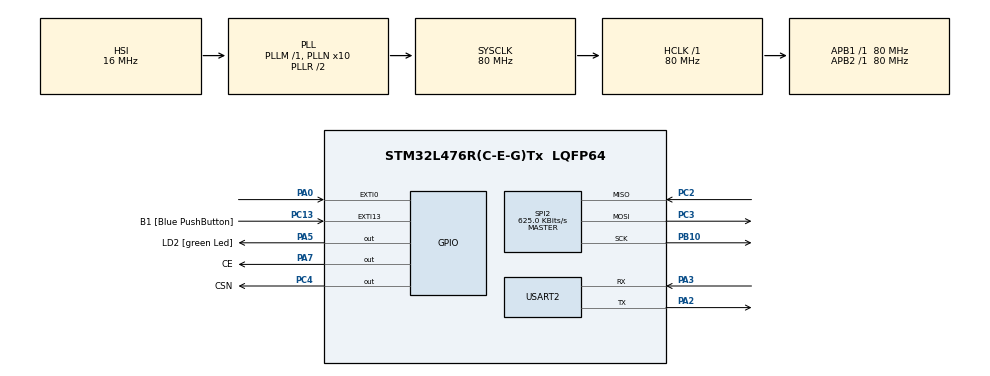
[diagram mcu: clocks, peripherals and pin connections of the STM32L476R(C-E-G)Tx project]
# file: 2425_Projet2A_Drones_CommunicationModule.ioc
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Mcu.Family=STM32L4
Mcu.Name=STM32L476R(C-E-G)Tx
Mcu.Package=LQFP64
NVIC.EXTI0_IRQn=true\:0\:0\:false\:false\:true\:true\:true\:true
NVIC.PriorityGroup=NVIC_PRIORITYGROUP_4
NVIC.SPI2_IRQn=true\:0\:0\:false\:false\:true\:true\:true\:true
PA0.GPIO_ModeDefaultEXTI=GPIO_MODE_IT_FALLING
PA0.Signal=GPXTI0
PA13\ (JTMS-SWDIO).GPIO_Label=TMS
PA13\ (JTMS-SWDIO).Mode=Serial_Wire
PA13\ (JTMS-SWDIO).Signal=SYS_JTMS-SWDIO
PA14\ (JTCK-SWCLK).GPIO_Label=TCK
PA14\ (JTCK-SWCLK).Mode=Serial_Wire
PA14\ (JTCK-SWCLK).Signal=SYS_JTCK-SWCLK
PA2.Mode=Asynchronous
PA2.Signal=USART2_TX
PA3.Mode=Asynchronous
PA3.Signal=USART2_RX
PA5.GPIO_Label=LD2 [green Led]
PA5.GPIO_ModeDefaultOutputPP=GPIO_MODE_OUTPUT_PP
PA5.GPIO_PuPd=GPIO_NOPULL
PA5.GPIO_Speed=GPIO_SPEED_FREQ_LOW
PA5.Signal=GPIO_Output
PA7.GPIO_Label=CE
PA7.GPIO_Speed=GPIO_SPEED_FREQ_HIGH
PA7.Signal=GPIO_Output
PB10.Mode=Full_Duplex_Master
PB10.Signal=SPI2_SCK
PB3\ (JTDO-TRACESWO).GPIO_Label=SWO
PB3\ (JTDO-TRACESWO).Signal=SYS_JTDO-SWO
PC13.GPIO_Label=B1 [Blue PushButton]
PC13.GPIO_ModeDefaultEXTI=GPIO_MODE_IT_FALLING
PC13.GPIO_PuPd=GPIO_NOPULL
PC13.Signal=GPXTI13
PC14-OSC32_IN\ (PC14).Mode=LSE-External-Oscillator
PC14-OSC32_IN\ (PC14).Signal=RCC_OSC32_IN
PC15-OSC32_OUT\ (PC15).Mode=LSE-External-Oscillator
PC15-OSC32_OUT\ (PC15).Signal=RCC_OSC32_OUT
PC2.Mode=Full_Duplex_Master
PC2.Signal=SPI2_MISO
PC3.Mode=Full_Duplex_Master
PC3.Signal=SPI2_MOSI
PC4.GPIO_Label=CSN
PC4.GPIO_Speed=GPIO_SPEED_FREQ_HIGH
PC4.Signal=GPIO_Output
PH0-OSC_IN\ (PH0).Signal=RCC_OSC_IN
PH1-OSC_OUT\ (PH1).Signal=RCC_OSC_OUT
ProjectManager.HeapSize=0x200
ProjectManager.StackSize=0x400
ProjectManager.TargetToolchain=STM32CubeIDE
RCC.ADCFreq_Value=64000000
RCC.AHBFreq_Value=80000000
RCC.APB1Freq_Value=80000000
RCC.APB1TimFreq_Value=80000000
RCC.APB2Freq_Value=80000000
RCC.APB2TimFreq_Value=80000000
RCC.CortexFreq_Value=80000000
RCC.HCLKFreq_Value=80000000
RCC.HSE_VALUE=8000000
RCC.HSI_VALUE=16000000
RCC.MSI_VALUE=4000000
RCC.PLLN=10
RCC.PLLSourceVirtual=RCC_PLLSOURCE_HSI
RCC.PREFETCH_ENABLE=1
RCC.SYSCLKFreq_VALUE=80000000
RCC.SYSCLKSource=RCC_SYSCLKSOURCE_PLLCLK
RCC.USBFreq_Value=64000000
RCC.VCOOutputFreq_Value=160000000
SPI2.BaudRatePrescaler=SPI_BAUDRATEPRESCALER_128
SPI2.CalculateBaudRate=625.0 KBits/s
SPI2.DataSize=SPI_DATASIZE_8BIT
SPI2.Direction=SPI_DIRECTION_2LINES
SPI2.Mode=SPI_MODE_MASTER
SPI2.VirtualType=VM_MASTER
USART2.VirtualMode-Asynchronous=VM_ASYNC
board=NUCLEO-L476RG

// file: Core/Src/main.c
/* USER CODE BEGIN Header */
/**
  ******************************************************************************
  * @file           : main.c
  * @brief          : Main program body
  ******************************************************************************
  * @attention
  *
  * Copyright (c) 2025 STMicroelectronics.
  * All rights reserved.
  *
  * This software is licensed under terms that can be found in the LICENSE file
  * in the root directory of this software component.
  * If no LICENSE file comes with this software, it is provided AS-IS.
  *
  ******************************************************************************
  */
/* USER CODE END Header */
#include "main.h"

/* USER CODE BEGIN Includes */
#include <strings.h>
#include <string.h>
#include <stdio.h>
#include "stm32l4xx_hal.h"
#include "NRF24.h"
#include "NRF24_reg_addresses.h"

#define PLD_SIZE 32

#define tx
/* USER CODE END Includes */

SPI_HandleTypeDef hspi2;

UART_HandleTypeDef huart2;

void SystemClock_Config(void);
static void MX_GPIO_Init(void);
static void MX_SPI2_Init(void);
static void MX_USART2_UART_Init(void);

/* USER CODE BEGIN 0 */
#ifdef tx
uint8_t data_T[PLD_SIZE] = {"Hello"};
uint8_t ack_T[PLD_SIZE];
#else
uint8_t data_R[PLD_SIZE];
uint8_t ack_R[PLD_SIZE] = {"Received"};
#endif
/* USER CODE END 0 */

int main(void)
{

  /* MCU Configuration--------------------------------------------------------*/

  /* Reset of all peripherals, Initializes the Flash interface and the Systick. */
  HAL_Init();

  /* Configure the system clock */
  SystemClock_Config();

  /* Initialize all configured peripherals */
  MX_GPIO_Init();
  MX_SPI2_Init();
  MX_USART2_UART_Init();
  /* USER CODE BEGIN 2 */
  csn_high();

  nrf24_init();
  nrf24_tx_pwr(_0dbm);
  nrf24_data_rate(_1mbps);
  nrf24_set_channel(78);
  nrf24_set_crc(en_crc,_1byte);
  nrf24_pipe_pld_size(0,PLD_SIZE);
  uint8_t addr[5] = {0x10, 0x21, 0x32, 0x43, 0x54};
  nrf24_open_tx_pipe(addr);
  nrf24_open_rx_pipe(0,addr);

#ifdef tx
  nrf24_stop_listen();
  char msg[] = "Hello World je suis en TX_MODE\r\n";
  HAL_UART_Transmit(&huart2, (uint8_t*)msg, strlen(msg), HAL_MAX_DELAY);
  HAL_Delay(1);
#else
  nrf24_listen();
  char msg[] = "Hello World je suis en RX_MODE\r\n";
  HAL_UART_Transmit(&huart2, (uint8_t*)msg, strlen(msg), HAL_MAX_DELAY);
  HAL_Delay(1);
#endif

  /* USER CODE END 2 */

  /* Infinite loop */
  /* USER CODE BEGIN WHILE */
  while (1)
  {
#ifdef tx
//	  nrf24_transmit(data_T,sizeof(data_T));
	  if (nrf24_transmit(data_T,sizeof(data_T)) == 1){
		  HAL_GPIO_TogglePin(GPIOA,GPIO_PIN_5);
		  char tmp[40];
		  sprintf(tmp,"I just sent that :| %s |\r\n",data_T);
		  HAL_UART_Transmit(&huart2, (uint8_t*)tmp, strlen(tmp), HAL_MAX_DELAY);
	  }
	  HAL_Delay(10);
#else
	  nrf24_listen();

	  if(nrf24_data_available()){
		  nrf24_receive(data_R,sizeof(data_R));
		  HAL_GPIO_TogglePin(GPIOA,GPIO_PIN_5);
	  }

	  char tmp[40];
	  sprintf(tmp,"| %s |\r\n",data_R);
	  HAL_UART_Transmit(&huart2,tmp,strlen(tmp),200);

	  HAL_Delay(1000);
#endif
    /* USER CODE END WHILE */

  }
}

void SystemClock_Config(void)
{
  RCC_OscInitTypeDef RCC_OscInitStruct = {0};
  RCC_ClkInitTypeDef RCC_ClkInitStruct = {0};

  /** Configure the main internal regulator output voltage
  */
  if (HAL_PWREx_ControlVoltageScaling(PWR_REGULATOR_VOLTAGE_SCALE1) != HAL_OK)
  {
    Error_Handler();
  }

  /** Initializes the RCC Oscillators according to the specified parameters
  * in the RCC_OscInitTypeDef structure.
  */
  RCC_OscInitStruct.OscillatorType = RCC_OSCILLATORTYPE_HSI;
  RCC_OscInitStruct.HSIState = RCC_HSI_ON;
  RCC_OscInitStruct.HSICalibrationValue = RCC_HSICALIBRATION_DEFAULT;
  RCC_OscInitStruct.PLL.PLLState = RCC_PLL_ON;
  RCC_OscInitStruct.PLL.PLLSource = RCC_PLLSOURCE_HSI;
  RCC_OscInitStruct.PLL.PLLM = 1;
  RCC_OscInitStruct.PLL.PLLN = 10;
  RCC_OscInitStruct.PLL.PLLP = RCC_PLLP_DIV7;
  RCC_OscInitStruct.PLL.PLLQ = RCC_PLLQ_DIV2;
  RCC_OscInitStruct.PLL.PLLR = RCC_PLLR_DIV2;
  if (HAL_RCC_OscConfig(&RCC_OscInitStruct) != HAL_OK)
  {
    Error_Handler();
  }

  /** Initializes the CPU, AHB and APB buses clocks
  */
  RCC_ClkInitStruct.ClockType = RCC_CLOCKTYPE_HCLK|RCC_CLOCKTYPE_SYSCLK
                              |RCC_CLOCKTYPE_PCLK1|RCC_CLOCKTYPE_PCLK2;
  RCC_ClkInitStruct.SYSCLKSource = RCC_SYSCLKSOURCE_PLLCLK;
  RCC_ClkInitStruct.AHBCLKDivider = RCC_SYSCLK_DIV1;
  RCC_ClkInitStruct.APB1CLKDivider = RCC_HCLK_DIV1;
  RCC_ClkInitStruct.APB2CLKDivider = RCC_HCLK_DIV1;

  if (HAL_RCC_ClockConfig(&RCC_ClkInitStruct, FLASH_LATENCY_4) != HAL_OK)
  {
    Error_Handler();
  }
}

static void MX_SPI2_Init(void)
{

  /* SPI2 parameter configuration*/
  hspi2.Instance = SPI2;
  hspi2.Init.Mode = SPI_MODE_MASTER;
  hspi2.Init.Direction = SPI_DIRECTION_2LINES;
  hspi2.Init.DataSize = SPI_DATASIZE_8BIT;
  hspi2.Init.CLKPolarity = SPI_POLARITY_LOW;
  hspi2.Init.CLKPhase = SPI_PHASE_1EDGE;
  hspi2.Init.NSS = SPI_NSS_SOFT;
  hspi2.Init.BaudRatePrescaler = SPI_BAUDRATEPRESCALER_128;
  hspi2.Init.FirstBit = SPI_FIRSTBIT_MSB;
  hspi2.Init.TIMode = SPI_TIMODE_DISABLE;
  hspi2.Init.CRCCalculation = SPI_CRCCALCULATION_DISABLE;
  hspi2.Init.CRCPolynomial = 7;
  hspi2.Init.CRCLength = SPI_CRC_LENGTH_DATASIZE;
  hspi2.Init.NSSPMode = SPI_NSS_PULSE_ENABLE;
  if (HAL_SPI_Init(&hspi2) != HAL_OK)
  {
    Error_Handler();
  }

}

static void MX_USART2_UART_Init(void)
{

  huart2.Instance = USART2;
  huart2.Init.BaudRate = 115200;
  huart2.Init.WordLength = UART_WORDLENGTH_8B;
  huart2.Init.StopBits = UART_STOPBITS_1;
  huart2.Init.Parity = UART_PARITY_NONE;
  huart2.Init.Mode = UART_MODE_TX_RX;
  huart2.Init.HwFlowCtl = UART_HWCONTROL_NONE;
  huart2.Init.OverSampling = UART_OVERSAMPLING_16;
  huart2.Init.OneBitSampling = UART_ONE_BIT_SAMPLE_DISABLE;
  huart2.AdvancedInit.AdvFeatureInit = UART_ADVFEATURE_NO_INIT;
  if (HAL_UART_Init(&huart2) != HAL_OK)
  {
    Error_Handler();
  }

}

static void MX_GPIO_Init(void)
{
  GPIO_InitTypeDef GPIO_InitStruct = {0};

  /* GPIO Ports Clock Enable */
  __HAL_RCC_GPIOC_CLK_ENABLE();
  __HAL_RCC_GPIOH_CLK_ENABLE();
  __HAL_RCC_GPIOA_CLK_ENABLE();
  __HAL_RCC_GPIOB_CLK_ENABLE();

  /*Configure GPIO pin Output Level */
  HAL_GPIO_WritePin(GPIOA, LD2_Pin|CE_Pin, GPIO_PIN_RESET);

  /*Configure GPIO pin Output Level */
  HAL_GPIO_WritePin(CSN_GPIO_Port, CSN_Pin, GPIO_PIN_RESET);

  /*Configure GPIO pin : B1_Pin */
  GPIO_InitStruct.Pin = B1_Pin;
  GPIO_InitStruct.Mode = GPIO_MODE_IT_FALLING;
  GPIO_InitStruct.Pull = GPIO_NOPULL;
  HAL_GPIO_Init(B1_GPIO_Port, &GPIO_InitStruct);

  /*Configure GPIO pin : PA0 */
  GPIO_InitStruct.Pin = GPIO_PIN_0;
  GPIO_InitStruct.Mode = GPIO_MODE_IT_FALLING;
  GPIO_InitStruct.Pull = GPIO_NOPULL;
  HAL_GPIO_Init(GPIOA, &GPIO_InitStruct);

  /*Configure GPIO pin : LD2_Pin */
  GPIO_InitStruct.Pin = LD2_Pin;
  GPIO_InitStruct.Mode = GPIO_MODE_OUTPUT_PP;
  GPIO_InitStruct.Pull = GPIO_NOPULL;
  GPIO_InitStruct.Speed = GPIO_SPEED_FREQ_LOW;
  HAL_GPIO_Init(LD2_GPIO_Port, &GPIO_InitStruct);

  /*Configure GPIO pin : CE_Pin */
  GPIO_InitStruct.Pin = CE_Pin;
  GPIO_InitStruct.Mode = GPIO_MODE_OUTPUT_PP;
  GPIO_InitStruct.Pull = GPIO_NOPULL;
  GPIO_InitStruct.Speed = GPIO_SPEED_FREQ_HIGH;
  HAL_GPIO_Init(CE_GPIO_Port, &GPIO_InitStruct);

  /*Configure GPIO pin : CSN_Pin */
  GPIO_InitStruct.Pin = CSN_Pin;
  GPIO_InitStruct.Mode = GPIO_MODE_OUTPUT_PP;
  GPIO_InitStruct.Pull = GPIO_NOPULL;
  GPIO_InitStruct.Speed = GPIO_SPEED_FREQ_HIGH;
  HAL_GPIO_Init(CSN_GPIO_Port, &GPIO_InitStruct);

  /* EXTI interrupt init*/
  HAL_NVIC_SetPriority(EXTI0_IRQn, 0, 0);
  HAL_NVIC_EnableIRQ(EXTI0_IRQn);

}

void Error_Handler(void)
{
  __disable_irq();
  while (1)
  {
  }
}
